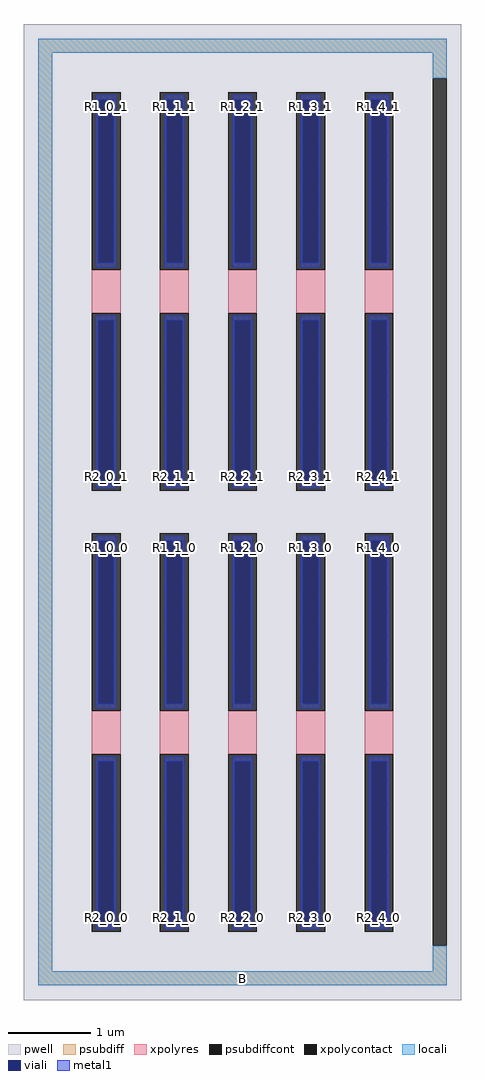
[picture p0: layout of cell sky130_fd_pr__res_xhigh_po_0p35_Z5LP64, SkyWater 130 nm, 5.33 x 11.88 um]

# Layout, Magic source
magic
tech sky130A
magscale 1 2
<< pwell >>
rect -533 -1188 533 1188
<< psubdiff >>
rect -497 1118 497 1152
rect -497 -1118 -463 1118
rect 463 1056 497 1118
rect 463 -1118 497 -1056
rect -497 -1152 497 -1118
<< psubdiffcont >>
rect 463 -1056 497 1056
<< xpolycontact >>
rect -367 590 -297 1022
rect -367 52 -297 484
rect -201 590 -131 1022
rect -201 52 -131 484
rect -35 590 35 1022
rect -35 52 35 484
rect 131 590 201 1022
rect 131 52 201 484
rect 297 590 367 1022
rect 297 52 367 484
rect -367 -484 -297 -52
rect -367 -1022 -297 -590
rect -201 -484 -131 -52
rect -201 -1022 -131 -590
rect -35 -484 35 -52
rect -35 -1022 35 -590
rect 131 -484 201 -52
rect 131 -1022 201 -590
rect 297 -484 367 -52
rect 297 -1022 367 -590
<< xpolyres >>
rect -367 484 -297 590
rect -201 484 -131 590
rect -35 484 35 590
rect 131 484 201 590
rect 297 484 367 590
rect -367 -590 -297 -484
rect -201 -590 -131 -484
rect -35 -590 35 -484
rect 131 -590 201 -484
rect 297 -590 367 -484
<< locali >>
rect -497 1118 497 1152
rect -497 -1118 -463 1118
rect 463 1056 497 1118
rect 463 -1118 497 -1056
rect -497 -1152 497 -1118
<< viali >>
rect -351 607 -313 1004
rect -185 607 -147 1004
rect -19 607 19 1004
rect 147 607 185 1004
rect 313 607 351 1004
rect -351 70 -313 467
rect -185 70 -147 467
rect -19 70 19 467
rect 147 70 185 467
rect 313 70 351 467
rect -351 -467 -313 -70
rect -185 -467 -147 -70
rect -19 -467 19 -70
rect 147 -467 185 -70
rect 313 -467 351 -70
rect -351 -1004 -313 -607
rect -185 -1004 -147 -607
rect -19 -1004 19 -607
rect 147 -1004 185 -607
rect 313 -1004 351 -607
<< metal1 >>
rect -357 1004 -307 1016
rect -357 607 -351 1004
rect -313 607 -307 1004
rect -357 595 -307 607
rect -191 1004 -141 1016
rect -191 607 -185 1004
rect -147 607 -141 1004
rect -191 595 -141 607
rect -25 1004 25 1016
rect -25 607 -19 1004
rect 19 607 25 1004
rect -25 595 25 607
rect 141 1004 191 1016
rect 141 607 147 1004
rect 185 607 191 1004
rect 141 595 191 607
rect 307 1004 357 1016
rect 307 607 313 1004
rect 351 607 357 1004
rect 307 595 357 607
rect -357 467 -307 479
rect -357 70 -351 467
rect -313 70 -307 467
rect -357 58 -307 70
rect -191 467 -141 479
rect -191 70 -185 467
rect -147 70 -141 467
rect -191 58 -141 70
rect -25 467 25 479
rect -25 70 -19 467
rect 19 70 25 467
rect -25 58 25 70
rect 141 467 191 479
rect 141 70 147 467
rect 185 70 191 467
rect 141 58 191 70
rect 307 467 357 479
rect 307 70 313 467
rect 351 70 357 467
rect 307 58 357 70
rect -357 -70 -307 -58
rect -357 -467 -351 -70
rect -313 -467 -307 -70
rect -357 -479 -307 -467
rect -191 -70 -141 -58
rect -191 -467 -185 -70
rect -147 -467 -141 -70
rect -191 -479 -141 -467
rect -25 -70 25 -58
rect -25 -467 -19 -70
rect 19 -467 25 -70
rect -25 -479 25 -467
rect 141 -70 191 -58
rect 141 -467 147 -70
rect 185 -467 191 -70
rect 141 -479 191 -467
rect 307 -70 357 -58
rect 307 -467 313 -70
rect 351 -467 357 -70
rect 307 -479 357 -467
rect -357 -607 -307 -595
rect -357 -1004 -351 -607
rect -313 -1004 -307 -607
rect -357 -1016 -307 -1004
rect -191 -607 -141 -595
rect -191 -1004 -185 -607
rect -147 -1004 -141 -607
rect -191 -1016 -141 -1004
rect -25 -607 25 -595
rect -25 -1004 -19 -607
rect 19 -1004 25 -607
rect -25 -1016 25 -1004
rect 141 -607 191 -595
rect 141 -1004 147 -607
rect 185 -1004 191 -607
rect 141 -1016 191 -1004
rect 307 -607 357 -595
rect 307 -1004 313 -607
rect 351 -1004 357 -607
rect 307 -1016 357 -1004
<< labels >>
rlabel psubdiff 0 -1135 0 -1135 0 B
port 1 nsew
rlabel xpolycontact -332 -87 -332 -87 0 R1_0_0
port 2 nsew
rlabel xpolycontact -332 -987 -332 -987 0 R2_0_0
port 3 nsew
rlabel xpolycontact -332 987 -332 987 0 R1_0_1
port 4 nsew
rlabel xpolycontact -332 87 -332 87 0 R2_0_1
port 5 nsew
rlabel xpolycontact -166 -87 -166 -87 0 R1_1_0
port 6 nsew
rlabel xpolycontact -166 -987 -166 -987 0 R2_1_0
port 7 nsew
rlabel xpolycontact -166 987 -166 987 0 R1_1_1
port 8 nsew
rlabel xpolycontact -166 87 -166 87 0 R2_1_1
port 9 nsew
rlabel xpolycontact 0 -87 0 -87 0 R1_2_0
port 10 nsew
rlabel xpolycontact 0 -987 0 -987 0 R2_2_0
port 11 nsew
rlabel xpolycontact 0 987 0 987 0 R1_2_1
port 12 nsew
rlabel xpolycontact 0 87 0 87 0 R2_2_1
port 13 nsew
rlabel xpolycontact 166 -87 166 -87 0 R1_3_0
port 14 nsew
rlabel xpolycontact 166 -987 166 -987 0 R2_3_0
port 15 nsew
rlabel xpolycontact 166 987 166 987 0 R1_3_1
port 16 nsew
rlabel xpolycontact 166 87 166 87 0 R2_3_1
port 17 nsew
rlabel xpolycontact 332 -87 332 -87 0 R1_4_0
port 18 nsew
rlabel xpolycontact 332 -987 332 -987 0 R2_4_0
port 19 nsew
rlabel xpolycontact 332 987 332 987 0 R1_4_1
port 20 nsew
rlabel xpolycontact 332 87 332 87 0 R2_4_1
port 21 nsew
<< properties >>
string FIXED_BBOX -480 -1135 480 1135
string gencell sky130_fd_pr__res_xhigh_po_0p35
string library sky130
string parameters w 0.350 l 0.687 m 2 nx 5 wmin 0.350 lmin 0.50 class resistor rho 2000 val 5.001k dummy 0 dw 0.0 term 188.2 sterm 0.0 caplen 0 wmax 0.350 guard 1 glc 0 grc 1 gtc 0 gbc 0 compatible {sky130_fd_pr__res_xhigh_po_0p35  sky130_fd_pr__res_xhigh_po_0p69 sky130_fd_pr__res_xhigh_po_1p41  sky130_fd_pr__res_xhigh_po_2p85 sky130_fd_pr__res_xhigh_po_5p73} snake 0 full_metal 1 n_guard 0 hv_guard 0 vias 1 viagb 0 viagt 0 viagl 0 viagr 0 doports 1
<< end >>
